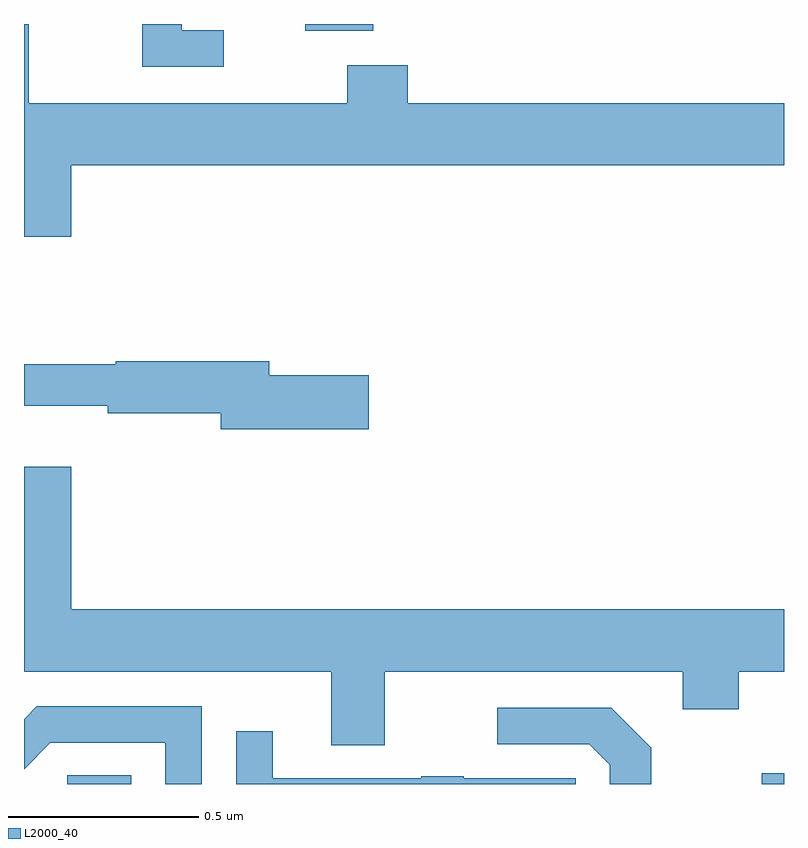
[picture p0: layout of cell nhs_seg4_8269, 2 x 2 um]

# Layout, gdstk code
import gdstk
lib = gdstk.Library(unit=1e-6, precision=1e-09)
def R(c, l, rs):  # rectangles x0, y0, x1, y1
    for r in rs: c.add(gdstk.rectangle(r[:2], r[2:], *l))
def P(c, l, *ps):  # polygons
    for p in ps: c.add(gdstk.Polygon(p, *l))
L2000_40 = (2000, 40)

nhs_seg4_8269 = lib.new_cell('nhs_seg4_8269')
R(nhs_seg4_8269, L2000_40, [(213.114,753.9,213.282,753.923), (214.941,753.9,215,753.928), (213.74,755.882,213.919,755.9)])
P(nhs_seg4_8269, L2000_40, [(213.124,755.528),(215,755.528),(215,755.692),(214.01,755.692),(214.01,755.791),(213.85,755.791),(213.85,755.692),(213.013,755.692),(213.013,755.9),(213,755.9),(213,755.34),(213.124,755.34)],
  [(213.526,755.883),(213.415,755.883),(213.415,755.9),(213.311,755.9),(213.311,755.787),(213.526,755.787)],
  [(213.907,754.976),(213.646,754.976),(213.646,755.012),(213.242,755.012),(213.242,755.005),(213,755.005),(213,754.895),(213.22,754.895),(213.22,754.876),(213.518,754.876),(213.518,754.834),(213.907,754.834)],
  [(213.949,754.196),(214.733,754.196),(214.733,754.097),(214.881,754.097),(214.881,754.196),(215,754.196),(215,754.36),(213.124,754.36),(213.124,754.735),(213,754.735),(213,754.196),(213.809,754.196),(213.809,754.002),(213.949,754.002)],
  [(213.468,754.104),(213.033,754.104),(213,754.071),(213,753.939),(213.069,754.008),(213.372,754.008),(213.372,753.9),(213.468,753.9)],
  [(214.651,753.995),(214.545,754.101),(214.245,754.101),(214.245,754.005),(214.488,754.005),(214.542,753.951),(214.542,753.9),(214.651,753.9)],
  [(214.452,753.915),(214.157,753.915),(214.157,753.92),(214.045,753.92),(214.045,753.915),(213.655,753.915),(213.655,754.039),(213.559,754.039),(213.559,753.9),(214.452,753.9)])

lib.write_gds('nhs_seg4_8269.gds')
